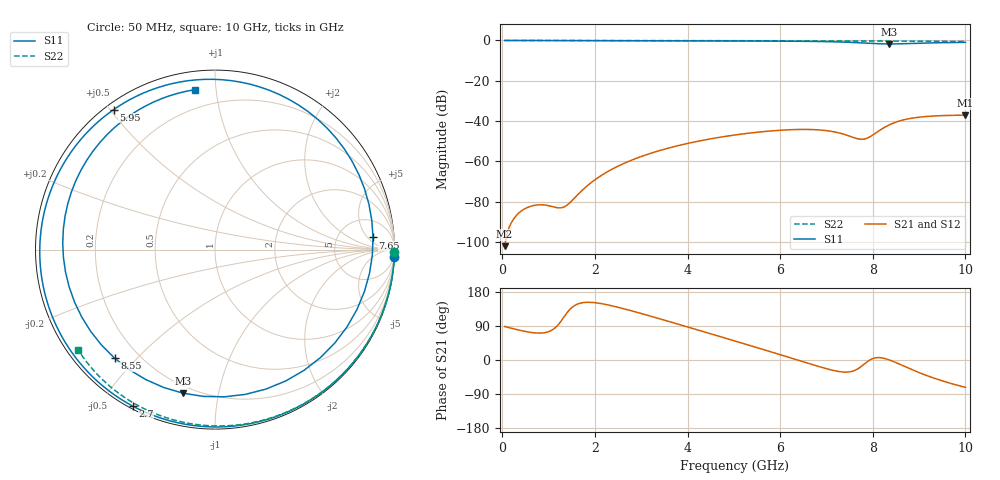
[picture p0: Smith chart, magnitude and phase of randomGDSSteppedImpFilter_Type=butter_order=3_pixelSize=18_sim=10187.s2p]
! freq	dB(S11)	phase(S11)	dB(S12)	phase(S12)
!  dB(S21)	phase(S21)	dB(S22)	phase(S22)
!S-par simulation data
#  GHz  S  DB  R 50
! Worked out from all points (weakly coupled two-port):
!   200 points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, 50 MHz to 10 GHz, reference 50 ohm
!   highest |S21| = -37.07 dB at 10 GHz (marker M1); lowest = -102.1 dB at 50 MHz (marker M2)
!   lowest |S11| = -1.7 dB at 8.35 GHz (marker M3), VSWR 10.09, Z = 8.1 - j39.5 ohm
!   |S11| at or under -10 dB: nowhere
!   |S22| runs from -0.5 to 0.0 dB; largest |S21 - S12| = 0
!   S11 on the Smith chart (normalised r, x): 50 MHz: 0, -46; 2.7 GHz: 0.01, -0.60; 5.95 GHz: 0.02, +0.51; 7.65 GHz: 12, +7; 8.55 GHz: 0.11, -0.43; 10 GHz: 0.10, +0.88
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0.05  -0.00 -2.5  -102.11 88.4  -102.11 88.4  -0.00 -0.8
0.65  -0.04 -31.4  -82.06 72.3  -82.06 72.3  -0.01 -10.8
1.45  -0.08 -67.9  -80.73 132.2  -80.73 132.2  -0.03 -23.9
1.75  -0.09 -80.6  -73.86 151.5  -73.86 151.5  -0.04 -28.7
2.15  -0.11 -96.8  -66.83 148.5  -66.83 148.5  -0.05 -35.1
2.7  -0.13 -117.7  -60.30 132.8  -60.30 132.8  -0.06 -43.8
3.4  -0.16 -142.5  -54.63 108.7  -54.63 108.7  -0.07 -54.6
4.25  -0.19 -171.3  -49.91 78.2  -49.91 78.2  -0.10 -67.3
5.05  -0.24 161.1  -46.83 49.2  -46.83 49.2  -0.12 -78.8
5.95  -0.33 125.9  -44.65 16.0  -44.65 16.0  -0.16 -91.3
6.7  -0.47 87.7  -44.23 -12.2  -44.23 -12.2  -0.20 -101.4
7.2  -0.69 51.6  -45.51 -28.9  -45.51 -28.9  -0.23 -108.0
7.65  -1.08 4.4  -48.66 -25.3  -48.66 -25.3  -0.26 -113.8
7.85  -1.32 -22.8  -48.74 -7.3  -48.74 -7.3  -0.27 -116.4
8.05  -1.56 -53.7  -46.16 5.5  -46.16 5.5  -0.29 -119.0
8.2  -1.68 -78.1  -43.87 5.5  -43.87 5.5  -0.30 -120.9
8.35  -1.73 -102.4  -41.97 0.5  -41.97 0.5  -0.32 -122.8
8.55  -1.68 -132.8  -40.15 -9.5  -40.15 -9.5  -0.33 -125.3
8.8  -1.53 -165.6  -38.75 -23.1  -38.75 -23.1  -0.36 -128.5
9.05  -1.35 167.4  -37.96 -35.7  -37.96 -35.7  -0.38 -131.6
9.5  -1.10 129.6  -37.30 -55.0  -37.30 -55.0  -0.43 -137.3
10  -0.94 97.2  -37.07 -72.1  -37.07 -72.1  -0.49 -143.6
